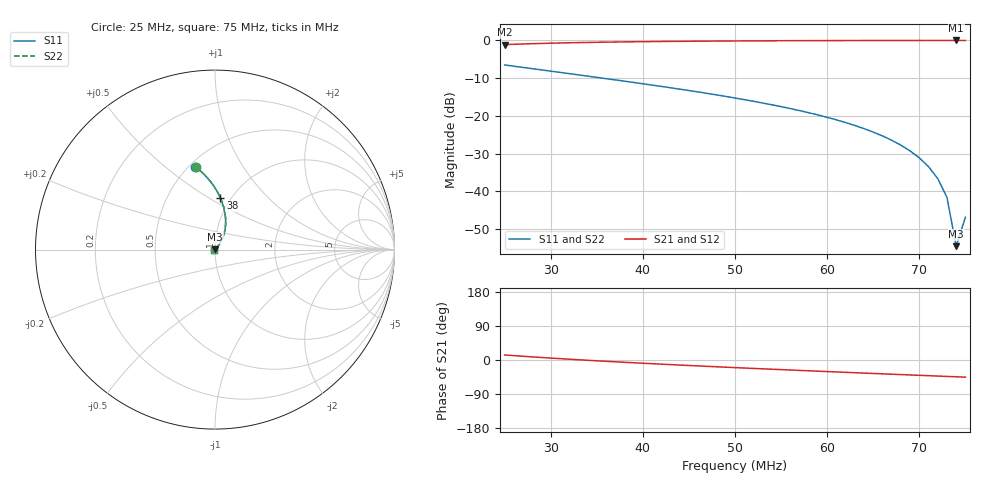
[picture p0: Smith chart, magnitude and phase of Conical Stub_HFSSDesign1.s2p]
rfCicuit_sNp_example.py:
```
"""
Created on Jun 26, 2026

@author: frederic.durodie@gmail.com

+-------------+----------------------------------------------------------------+
| Date        | Comment                                                        |
+=============+================================================================+
| Jun 26, 2026 | Created                                                        |
+-------------+----------------------------------------------------------------+

in this example we explore the use of touchstone to complement the description
of a circuit 


"""

__updated__ = "2026-06-26 02:06:14"

import os 
os.environ['OPENBLAS_NUM_THREADS']='{:d}'.format(2)

import numpy as np
import matplotlib.pyplot as pl


import sys
# this is already done through the Eclipse settings
sys.path.insert(0,'/home/frederic/git/pyrftk/src') 

from pyRFtk import rfCircuit, rfTRL, rfObject, rfRLC, WriteTSF  # @UnresolvedImport
from pyRFtk.config import logit, logident


from pyRFtk import rfCircuit, rfTRL, rfObject, plotVSWs # @UnresolvedImport
from pyRFtk.config import logit, logident

import re 

#===================================================================================================

def readvar(s):
    # split off the units
    try:
        val, unit= re.findall('([+-]?[0-9]+[\.[0-9]*]?)([A-Za-z]+)', s)[0]
    except:
        raise ValueError(f'could not understand {s} as a value, unit pair')
    
    if unit in ['mm']:
        return float(val)/1000
    elif unit in ['m', 'ohm']:
        return float(val)
    else:
        return None
    
#===================================================================================================

# rfObject is an object that can read a touchtone file

# this is a 1m long conical stub: at the short circuit the Zc = 50 Ohm while at the T 
# the impedance is 20 Ohm.
# the legs of the T are 

Path2TSF = 'Conical Stub_HFSSDesign1.s2p'
obj = rfObject(touchstone=Path2TSF, Zbase=20)

# Ansys HFSS writes the parameters used in the touchstone and we can access them
print(obj.variables)
print(obj)

# let's recreate this using pyRFtk

L = readvar(obj.variables['L'])
L2 = readvar(obj.variables['L2'])
OD = readvar(obj.variables['OD'])
ID1 = OD * np.exp(-readvar(obj.variables['Zsc'])/60)
ID2 = OD * np.exp(-readvar(obj.variables['Ztop'])/60)
L = L - 0.9 * ID2
L2 = L2 - 0.3 * ID2

print(L, L2, OD, ID1, ID2)

Zbase = readvar(obj.variables['Ztop'])
                
ct = rfCircuit(sNp=Path2TSF, Zbase=Zbase)
print(ct.sNp)
ct.addblock('Tee1', rfTRL(L=L2, OD=OD, ID=ID2))
ct.addblock('Cone', rfTRL(L=L, OD=OD, ID=[ID2, ID1]), relpos=L2)
ct.addblock('Tee2', rfTRL(L=L2, OD=OD, ID=ID2),relpos=L2)
ct.connect('Cone.1', 'Tee1.2', 'Tee2.1')
ct.connect('Tee1.1', '1')
ct.connect('Tee2.2', '2')
ct.terminate('Cone.2', Z=0)

print(ct.asstr(-1))

fHzs = np.linspace(25e6, 75e6, 51)

fig, axs = pl.subplots(2, 2, sharex=True, num='sNp vs no sNp')
Ss_no_sNp = ct.getS(fHzs, flags={'sNp':False})
Ss_sNp = ct.getS(fHzs, flags={'sNp':True})
for k in range(4):
    i,j = k//2, k%2
    pl.sca(axs[i,j])
    pl.plot(fHzs/1e6, np.abs(Ss_no_sNp[:,i,j]),'r',label = f'|S$_{{{i+1},{j+1}}}$| no sNp')
    pl.plot(fHzs/1e6, np.abs(Ss_sNp[:,i,j]),'b',label = f'|S$_{{{i+1},{j+1}}}$| sNp')
    pl.title(f'|S$_{{{i+1},{j+1}}}$|')  
    pl.xlabel('frequency [MHz]')
    pl.grid()
    pl.legend(loc='best')
    
pl.suptitle('sNp vs no sNp')
pl.tight_layout()

# now we use the stub in a circuit

ct2 = rfCircuit(Zbase=20)
ct2.addblock('Stub1', ct)
ct2.addblock('TL1', rfTRL(L=1., Z0TL=20), relpos=2*L2)
ct2.addblock('Stub2', ct, relpos=2*L2+1)
ct2.connect('Stub1.2', 'TL1.1')
ct2.connect('Stub2.1', 'TL1.2')
ct2.terminate('Stub1.1', RC=0.)

print('sNp=False:',ct2.getS(40e6, flags={'sNp':False}))
print('sNp=True:',ct2.getS(40e6, flags={'sNp':True}))
# print(ct2)

Vmax, where, VSWs = ct2.maxV(40e6, {'Stub2.2':1}, flags={'sNp':True})
print(f'max voltage = {Vmax:.3f} at {where}')    
pl.figure(num='max voltage')
plotVSWs(VSWs)

Vmax2, where2, VSWs2 = ct2.maxV(40e6, {'Stub2.2':1}, flags={'sNp':False})
print(f'max voltage = {Vmax:.3f} at {where}')    
pl.figure(num='max voltage (no sNp)')
plotVSWs(VSWs2)

# create a circuit that does not know about the internals of the stub

ct3 = rfCircuit(Zbase=20)
ct3.addblock('Stub1', obj, ports=[1,2])
ct3.addblock('TL1', rfTRL(L=1., Z0TL=20 ), relpos=2*L2)
ct3.addblock('Stub2', obj, ports=[1,2], relpos=4*L2 +1) 
print(ct3)
ct3.connect('Stub1.2', 'TL1.1')
ct3.connect('Stub2.2', 'TL1.2')
ct3.terminate('Stub1.1', RC=0.)
# ct3.connect('Stub2.2','2')
print(ct3)
Vmax3, where3, VSWs3 = ct3.maxV(40e6, {'Stub2.1':1})
print(f'max voltage = {Vmax3:.3f} at {where3}')   
plotVSWs(VSWs3, num='max voltage 2', plotnodes=True)
pl.show()
```
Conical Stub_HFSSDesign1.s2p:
! Touchstone file exported from HFSS 2022.2.4
!  File:  /home/frederic/Ansoft/Conical Stub.aedt
!  Generated:  11:44:42 AM  Jun 23, 2026
!  Design:  HFSSDesign1
!  Project:  Conical Stub
!  Setup:  Setup1
!  Solution:  Sweep
! Variables:
!  L = 1000mm
!  L2 = 250mm
!  OD = 235mm
!  Zsc = 50ohm
!  Ztop = 20ohm
!Data is not renormalized
# GHz S MA R 19.968461
! Terminal data exported
! Port[1] = 1
! Port[2] = 2
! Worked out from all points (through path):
!   51 points, 25 MHz to 75 MHz, reference per port
!   highest |S21| = 0.00 dB at 74 MHz (marker M1); lowest = -1.1 dB at 25 MHz (marker M2)
!   lowest |S11| = -54.5 dB at 74 MHz (marker M3), VSWR 1.00
!   |S11| at or under -10 dB: 35.67 MHz to end of sweep
!   |S22| runs from -54.5 to -6.5 dB; largest |S21 - S12| = 6.3e-15
!   S11 on the Smith chart (normalised r, x): 25 MHz: 0.54, +0.64; 38 MHz: 0.90, +0.56; 75 MHz: 0.99, -0.01
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0.025  0.4736 103.3  0.8807 13.3  0.8807 13.3  0.4736 103.2
! Gamma 0 0.523961255488054 0 0.523961255487942
! Port Impedance 19.9684612517809 0 19.9694771395773 0
0.038  0.2889 84.0  0.9574 -6.0  0.9574 -6.0  0.2889 84.0
0.05  0.1728 70.0  0.9849 -20.1  0.9849 -20.1  0.1728 69.9
0.062  0.08175 57.5  0.9967 -32.5  0.9967 -32.5  0.08175 57.4
0.066  0.05436 53.5  0.9985 -36.5  0.9985 -36.5  0.05436 53.5
0.069  0.03441 50.5  0.9994 -39.5  0.9994 -39.5  0.03441 50.6
0.071  0.02131 48.5  0.9998 -41.4  0.9998 -41.4  0.02131 48.7
0.072  0.01481 47.5  0.9999 -42.4  0.9999 -42.4  0.01481 47.7
0.073  0.008334 46.4  1 -43.4  1 -43.4  0.008334 46.9
0.074  0.001882 44.4  1 -44.3  1 -44.3  0.001882 46.9
0.075  0.004553 -134.7  1 -45.3  1 -45.3  0.004553 -135.9
